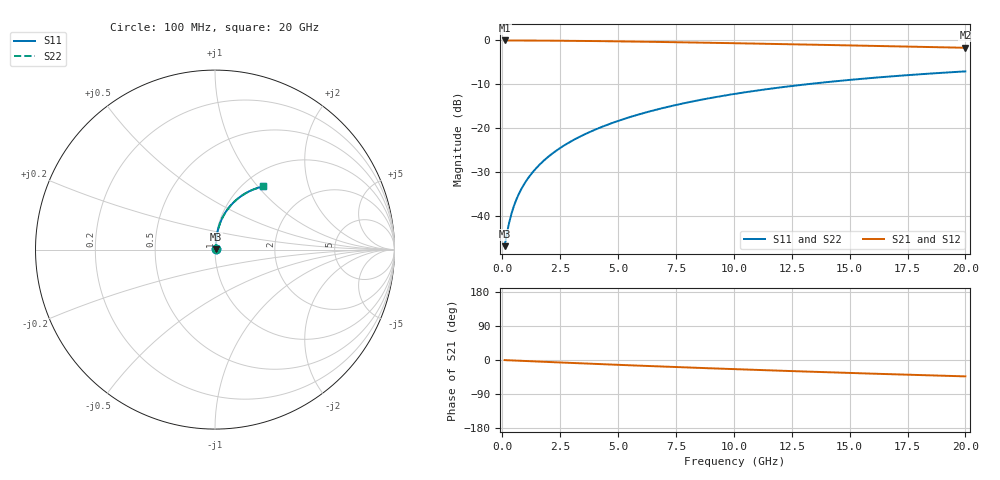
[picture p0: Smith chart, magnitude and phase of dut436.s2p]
! Touchstone file exported from HFSS 2024.1.0
!  File:  C:/UserFiles/LocalFiles/RDL_TSV_Batchsim/temp_RDL_top_436_1779676607.aedt
!  Generated:  10:38:57 AM May 25, 2026
!  Design:  RDL_top
!  Project:  temp_RDL_top_436_1779676607
!  Setup:  Setup1
!  Solution:  Sweep
! Variables:
!  dtsv = 10.80580581um
!  hbump = 3um
!  htsv = 57um
!  ldown = 100um
!  lrdl = 556.52um
!  p = 40
!  p1 = 59.17um
!  rhole = 1um
!  t = 450um
!  tdown = 3.915915916um
!  trdl = 2.76um
!  wdown = 15.38538539um
!  wrdl = 20.23um
# GHz S MA R 50.000000
! Terminal data exported
! Port[1] = Box2_T1
! Port[2] = Box2_T2
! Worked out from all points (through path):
!   200 points, 100 MHz to 20 GHz, reference 50 ohm
!   highest |S21| = -0.03 dB at 100 MHz (marker M1); lowest = -1.7 dB at 20 GHz (marker M2)
!   group delay of S21, straight-line fit = 5.97 ps
!   lowest |S11| = -46.9 dB at 100 MHz (marker M3), VSWR 1.01, Z = 50.4 + j0.253 ohm
!   |S11| at or under -10 dB: start of sweep to 13.18 GHz
!   |S22| runs from -46.9 to -7.1 dB; largest |S21 - S12| = 3.5e-15
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0.1  0.004505 33.9  0.9963 -0.3  0.9963 -0.3  0.004505 33.9
! Gamma 0 0 0 0
! Port Impedance 50 0 50 0
0.2  0.006301 52.4  0.9961 -0.5  0.9961 -0.5  0.006301 52.4
0.3  0.008428 61.7  0.996 -0.8  0.996 -0.8  0.008428 61.7
0.4  0.01065 67.1  0.9958 -1.1  0.9958 -1.1  0.01065 67.1
0.5  0.01289 70.5  0.9955 -1.3  0.9955 -1.3  0.01289 70.5
0.6  0.01515 72.9  0.9953 -1.6  0.9953 -1.6  0.01515 72.9
0.8  0.01967 76.1  0.9949 -2.1  0.9949 -2.1  0.01967 76.1
1.1  0.0265 78.9  0.9942 -2.9  0.9942 -2.9  0.0265 78.9
1.3  0.03109 80.0  0.9937 -3.4  0.9937 -3.4  0.03109 80.0
1.6  0.03804 81.2  0.9927 -4.2  0.9927 -4.2  0.03804 81.2
2.1  0.04976 82.2  0.9909 -5.5  0.9909 -5.5  0.04976 82.2
2.7  0.06404 82.6  0.9882 -7.0  0.9882 -7.0  0.06404 82.6
3.5  0.08341 82.5  0.9837 -9.1  0.9837 -9.1  0.0834 82.5
4.2  0.1006 81.9  0.9791 -10.8  0.9791 -10.8  0.1006 81.9
5  0.1205 81.0  0.9732 -12.8  0.9732 -12.8  0.1205 81.0
5.9  0.1431 79.6  0.9659 -14.9  0.9659 -14.9  0.1431 79.6
6.8  0.1657 78.1  0.958 -17.0  0.958 -17.0  0.1657 78.1
8.4  0.2055 75.1  0.9431 -20.6  0.9431 -20.6  0.2055 75.1
10.1  0.2466 71.7  0.9263 -24.3  0.9263 -24.3  0.2466 71.7
13.4  0.3209 65.0  0.892 -31.1  0.892 -31.1  0.3208 65.0
16.7  0.3863 58.6  0.8569 -37.4  0.8569 -37.4  0.3863 58.6
20  0.4427 52.6  0.8223 -43.2  0.8223 -43.2  0.4426 52.6
